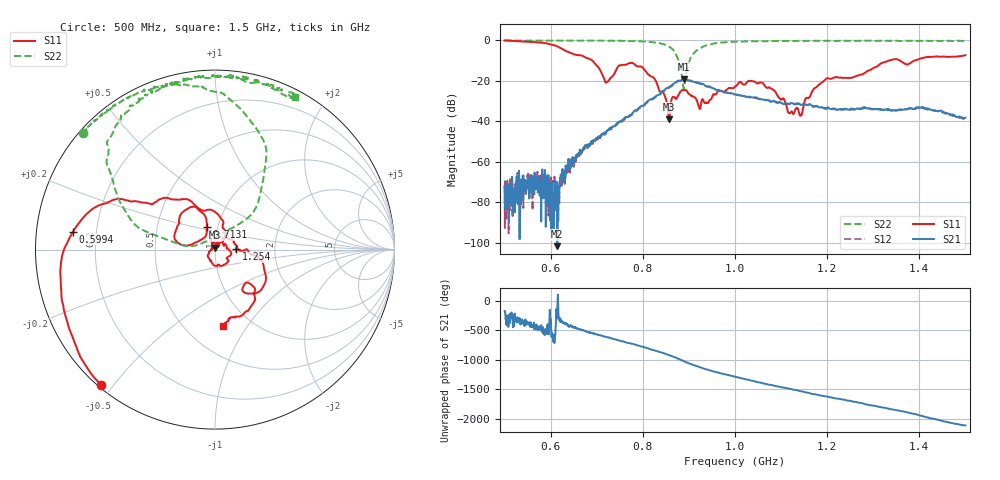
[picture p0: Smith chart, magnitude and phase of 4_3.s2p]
!Agilent Technologies,E8364B,US42250235,A.06.04.32
!Agilent E8364B: A.06.04.32
!Date: Friday, January 15, 2021 14:46:51
!Correction: S11(Full 2 Port(1,2)) S21(Full 2 Port(1,2)) S12(Full 2 Port(1,2)) S22(Full 2 Port(1,2))
!S2P File: Measurements: S11, S21, S12, S22:
# Hz S  dB  R 50
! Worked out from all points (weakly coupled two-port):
!   1601 points, 500 MHz to 1.5 GHz, reference 50 ohm
!   highest |S21| = -19.20 dB at 888.8 MHz (marker M1); lowest = -101.6 dB at 614.4 MHz (marker M2)
!   lowest |S11| = -39.0 dB at 856.9 MHz (marker M3), VSWR 1.02, Z = 50.1 + j1.11 ohm
!   |S11| at or under -10 dB: 690.2 MHz to 1.335 GHz (644.3 MHz wide, 63.6 % of centre); 1.358 GHz to 1.39 GHz (31.94 MHz wide, 2.32 % of centre)
!   |S22| runs from -24.0 to -0.1 dB; largest |S21 - S12| = 0.0064
!   S11 on the Smith chart (normalised r, x): 500 MHz: 0.01, -0.47; 599.4 MHz: 0.11, +0.06; 713.1 MHz: 0.89, +0.22; 1.254 GHz: 1.27, +0.01; 1.5 GHz: 0.75, -0.78
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5e8  -0.12 -130.1  -71.92 -168.3  -71.90 145.4  -0.14 138.5
5.7e8  -1.06 -165.5  -73.10 -123.0  -66.54 -67.2  -0.19 131.7
5.99375e8  -1.97 172.8  -88.92 -24.0  -69.43 128.6  -0.18 129.6
6.14375e8  -3.04 160.3  -101.59 -136.6  -99.19 -64.8  -0.14 127.7
6.25e8  -4.28 152.4  -66.18 1.2  -65.12 40.1  -0.20 126.2
6.66875e8  -7.54 138.9  -55.08 -127.4  -55.85 -125.0  -0.20 121.6
7.13125e8  -17.57 110.4  -46.14 122.5  -46.53 126.9  -0.23 116.4
7.7625e8  -11.24 124.0  -36.39 -5.3  -36.77 -3.2  -0.45 104.7
8.3375e8  -23.68 47.3  -26.97 -140.7  -27.32 -138.5  -1.30 86.1
8.56875e8  -39.02 83.3  -23.09 159.6  -23.47 161.4  -3.23 68.8
8.74375e8  -28.23 105.5  -20.21 107.0  -20.53 110.2  -8.25 50.1
8.8875e8  -24.64 95.1  -19.20 57.4  -19.44 60.0  -24.03 120.5
9.18125e8  -30.52 42.3  -20.73 -31.2  -21.11 -28.8  -4.81 154.5
1e9  -22.91 5.3  -26.79 151.1  -26.76 153.9  -0.70 120.7
1.058125e9  -20.91 -89.1  -29.11 44.8  -29.31 47.9  -0.44 112.0
1.1225e9  -35.27 161.4  -30.98 -59.3  -31.33 -58.1  -0.35 103.5
1.143125e9  -37.01 141.7  -31.95 -95.5  -31.51 -94.3  -0.31 101.1
1.166875e9  -25.50 83.3  -32.34 -139.7  -32.29 -136.0  -0.33 97.4
1.199375e9  -18.74 26.0  -33.36 174.8  -33.77 174.5  -0.29 95.5
1.25375e9  -18.49 1.3  -33.69 93.6  -34.15 95.3  -0.25 88.8
1.33375e9  -10.05 -26.2  -34.10 -34.1  -34.53 -35.7  -0.30 79.4
1.5e9  -7.36 -84.0  -38.18 42.4  -38.50 37.1  -0.37 62.3
